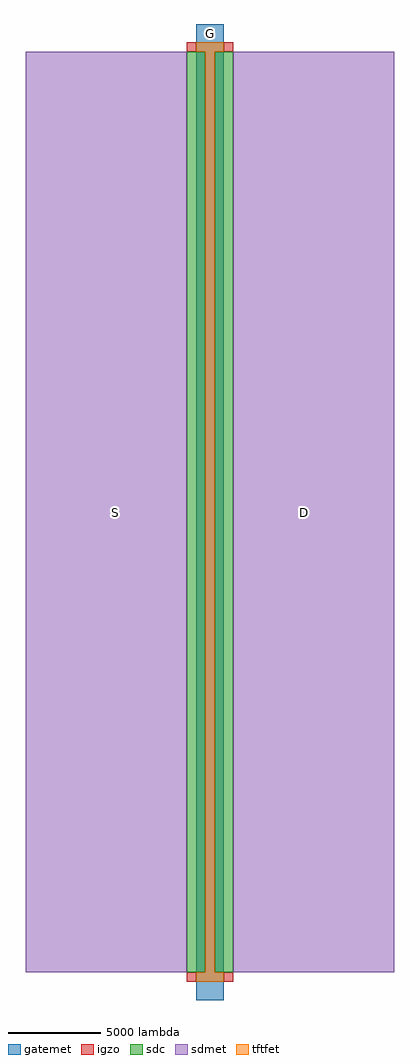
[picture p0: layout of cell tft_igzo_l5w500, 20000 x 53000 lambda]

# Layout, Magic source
magic
tech igzo_mmm_lab
<< igzo >>
rect -1250 25000 -750 25500
rect 750 25000 1250 25500
rect -1250 -25500 -750 -25000
rect 750 -25500 1250 -25000
<< tftfet >>
rect -750 25000 750 25500
rect -250 -25000 250 25000
rect -750 -25500 750 -25000
<< sdc >>
rect -1250 -25000 -250 25000
rect 250 -25000 1250 25000
<< sdmet >>
rect -10000 -25000 -1250 25000
rect 1250 -25000 10000 25000
<< gatemet >>
rect -750 -26500 750 26500
<< labels >>
rlabel sdmet s -5613 -488 -4637 488 4 S
port 3 nsew
rlabel sdmet s 4637 -488 5613 488 4 D
port 5 nsew
rlabel gatemet s -488 25512 488 26488 4 G
port 7 nsew
<< end >>
